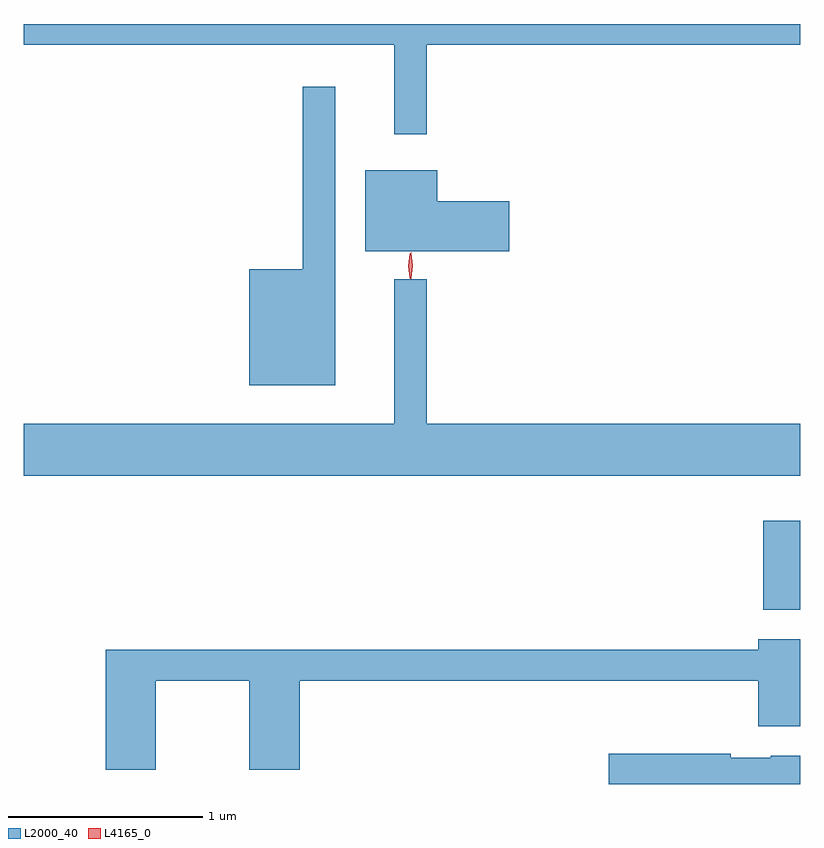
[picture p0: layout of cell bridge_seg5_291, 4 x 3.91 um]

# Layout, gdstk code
import gdstk
lib = gdstk.Library(unit=1e-6, precision=1e-09)
def R(c, l, rs):  # rectangles x0, y0, x1, y1
    for r in rs: c.add(gdstk.rectangle(r[:2], r[2:], *l))
def P(c, l, *ps):  # polygons
    for p in ps: c.add(gdstk.Polygon(p, *l))
L2000_40 = (2000, 40)
L4165_0 = (4165, 0)

bridge_seg5_291 = lib.new_cell('bridge_seg5_291')
R(bridge_seg5_291, L2000_40, [(691.881,1527.146,692.073,1527.604)])
P(bridge_seg5_291, L2000_40, [(690.149,1530.056),(692.073,1530.056),(692.073,1530.162),(688.073,1530.162),(688.073,1530.056),(689.981,1530.056),(689.981,1529.593),(690.149,1529.593)],
  [(689.679,1529.838),(689.511,1529.838),(689.511,1528.899),(689.236,1528.899),(689.236,1528.301),(689.679,1528.301)],
  [(690.574,1529.249),(690.204,1529.249),(690.204,1529.409),(689.831,1529.409),(689.831,1528.991),(690.574,1528.991)],
  [(692.073,1528.104),(690.149,1528.104),(690.149,1528.848),(689.981,1528.848),(689.981,1528.104),(688.073,1528.104),(688.073,1527.836),(692.073,1527.836)],
  [(688.754,1526.781),(689.236,1526.781),(689.236,1526.321),(689.494,1526.321),(689.494,1526.781),(691.856,1526.781),(691.856,1526.546),(692.073,1526.546),(692.073,1526.994),(691.856,1526.994),(691.856,1526.939),(688.496,1526.939),(688.496,1526.321),(688.754,1526.321)],
  [(692.073,1526.394),(691.92,1526.394),(691.92,1526.384),(691.714,1526.384),(691.714,1526.404),(691.086,1526.404),(691.086,1526.248),(692.073,1526.248)])
P(bridge_seg5_291, L4165_0, [(690.062,1528.853),(690.053,1528.916),(690.062,1528.98),(690.062,1528.98),(690.063,1528.98),(690.073,1528.916),(690.063,1528.853),(690.063,1528.853)],
  [(690.067,1528.85),(690.058,1528.918),(690.067,1528.985),(690.068,1528.986),(690.068,1528.985),(690.078,1528.918),(690.068,1528.85),(690.068,1528.85)])

lib.write_gds('bridge_seg5_291.gds')
